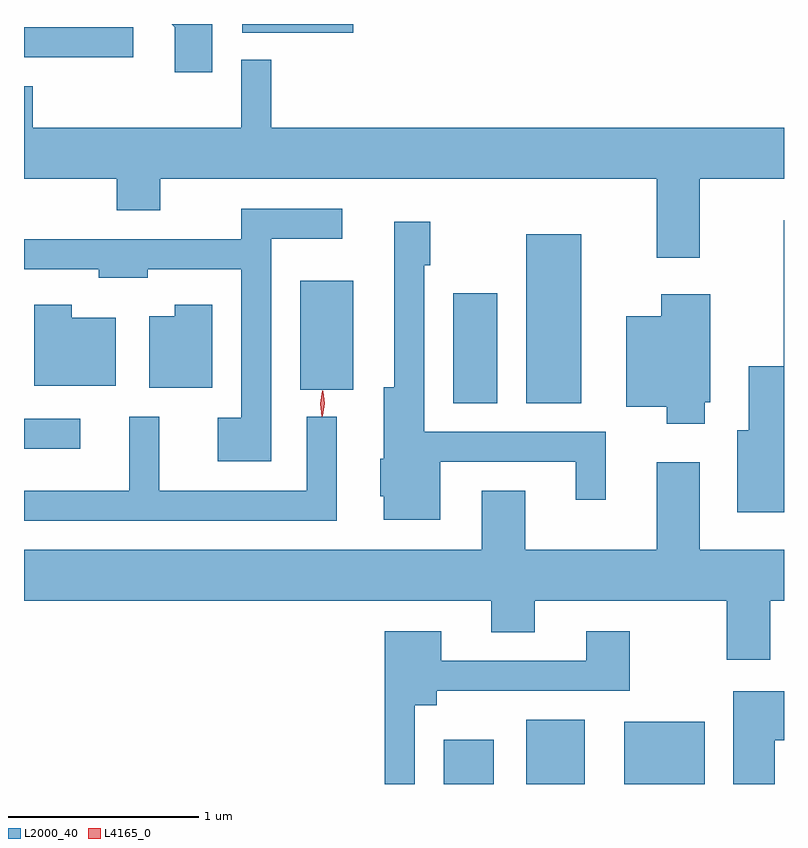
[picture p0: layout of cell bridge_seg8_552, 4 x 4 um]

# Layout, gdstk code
import gdstk
lib = gdstk.Library(unit=1e-6, precision=1e-09)
def R(c, l, rs):  # rectangles x0, y0, x1, y1
    for r in rs: c.add(gdstk.rectangle(r[:2], r[2:], *l))
def P(c, l, *ps):  # polygons
    for p in ps: c.add(gdstk.Polygon(p, *l))
L2000_40 = (2000, 40)
L4165_0 = (4165, 0)

bridge_seg8_552 = lib.new_cell('bridge_seg8_552')
R(bridge_seg8_552, L2000_40, [(457.951,1846.551,458.214,1846.784), (458.386,1846.551,458.694,1846.889), (458.901,1846.551,459.324,1846.879), (455.742,1848.316,456.038,1848.474), (458.001,1848.556,458.234,1849.134), (458.386,1848.556,458.674,1849.444), (457.196,1848.626,457.474,1849.199), (455.742,1850.376,456.318,1850.534), (456.891,1850.506,457.474,1850.551)])
P(bridge_seg8_552, L2000_40, [(456.734,1850.551),(456.519,1850.551),(456.536,1850.534),(456.536,1850.296),(456.734,1850.296)],
  [(459.299,1849.736),(459.742,1849.736),(459.742,1850.004),(457.044,1850.004),(457.044,1850.363),(456.886,1850.363),(456.886,1850.004),(455.789,1850.004),(455.789,1850.224),(455.742,1850.224),(455.742,1849.736),(456.231,1849.736),(456.231,1849.571),(456.459,1849.571),(456.459,1849.736),(459.071,1849.736),(459.071,1849.321),(459.299,1849.321)],
  [(457.044,1849.421),(457.418,1849.421),(457.418,1849.579),(456.886,1849.579),(456.886,1849.419),(455.742,1849.419),(455.742,1849.261),(456.136,1849.261),(456.136,1849.216),(456.394,1849.216),(456.394,1849.261),(456.886,1849.261),(456.886,1848.479),(456.761,1848.479),(456.761,1848.251),(457.044,1848.251)],
  [(459.742,1849.518),(459.741,1849.518),(459.741,1848.749),(459.556,1848.749),(459.556,1848.414),(459.496,1848.414),(459.496,1847.981),(459.742,1847.981)],
  [(457.934,1848.246),(458.646,1848.246),(458.646,1848.048),(458.804,1848.048),(458.804,1848.404),(457.849,1848.404),(457.849,1849.281),(457.879,1849.281),(457.879,1849.509),(457.691,1849.509),(457.691,1848.639),(457.636,1848.639),(457.636,1848.264),(457.616,1848.264),(457.616,1848.066),(457.636,1848.066),(457.636,1847.941),(457.934,1847.941)],
  [(459.324,1848.561),(459.354,1848.561),(459.354,1849.129),(459.096,1849.129),(459.096,1849.014),(458.911,1849.014),(458.911,1848.536),(459.126,1848.536),(459.126,1848.446),(459.324,1848.446)],
  [(456.224,1849.004),(455.994,1849.004),(455.994,1849.074),(455.796,1849.074),(455.796,1848.646),(456.224,1848.646)],
  [(456.734,1849.074),(456.536,1849.074),(456.536,1849.014),(456.401,1849.014),(456.401,1848.636),(456.734,1848.636)],
  [(457.389,1848.483),(457.231,1848.483),(457.231,1848.094),(456.454,1848.094),(456.454,1848.483),(456.296,1848.483),(456.296,1848.094),(455.742,1848.094),(455.742,1847.936),(457.389,1847.936)],
  [(459.669,1847.516),(459.742,1847.516),(459.742,1847.784),(459.299,1847.784),(459.299,1848.244),(459.071,1848.244),(459.071,1847.784),(458.379,1847.784),(458.379,1848.094),(458.151,1848.094),(458.151,1847.784),(455.742,1847.784),(455.742,1847.516),(458.201,1847.516),(458.201,1847.351),(458.429,1847.351),(458.429,1847.516),(459.441,1847.516),(459.441,1847.206),(459.669,1847.206)],
  [(457.799,1846.966),(457.914,1846.966),(457.914,1847.041),(458.929,1847.041),(458.929,1847.354),(458.701,1847.354),(458.701,1847.199),(457.939,1847.199),(457.939,1847.354),(457.641,1847.354),(457.641,1846.551),(457.799,1846.551)],
  [(459.694,1846.781),(459.742,1846.781),(459.742,1847.039),(459.476,1847.039),(459.476,1846.551),(459.694,1846.551)])
P(bridge_seg8_552, L4165_0, [(457.312,1848.488),(457.305,1848.554),(457.316,1848.619),(457.317,1848.619),(457.317,1848.619),(457.325,1848.553),(457.314,1848.488),(457.313,1848.488)],
  [(457.31,1848.484),(457.31,1848.485),(457.302,1848.553),(457.312,1848.621),(457.313,1848.622),(457.314,1848.621),(457.322,1848.553),(457.311,1848.485)])

lib.write_gds('bridge_seg8_552.gds')
